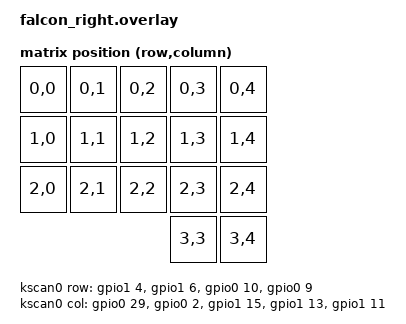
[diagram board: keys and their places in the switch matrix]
/*
 * Falcon - Right Half Overlay
 *
 * Matrix pins identical to left half.
 *
 * Trackball (PMW3610) SPI wiring:
 *   D2 (SDIO) = P0.17  -> SPIM MOSI + MISO (bidirectional)
 *   D3 (SCLK) = P0.20  -> SPIM SCK
 *   D4 (nCS)  = P0.22  -> chip select (active low)
 *   D5 (MoT)  = P0.24  -> motion interrupt (active low, pull-up)
 *   VIN               -> 3.3V
 *   GND               -> GND
 */

#include <dt-bindings/zmk/matrix_transform.h>
#include "falcon.dtsi"

/ {
    chosen {
        zmk,kscan = &kscan0;
        zmk,matrix-transform = &default_transform;
    };

    default_transform: keymap_transform_0 {
        compatible = "zmk,matrix-transform";
        columns = <5>;
        rows = <4>;
        map = <
            RC(0,0) RC(0,1) RC(0,2) RC(0,3) RC(0,4)
            RC(1,0) RC(1,1) RC(1,2) RC(1,3) RC(1,4)
            RC(2,0) RC(2,1) RC(2,2) RC(2,3) RC(2,4)
                                    RC(3,3) RC(3,4)
        >;
    };

    kscan0: kscan {
        compatible = "zmk,kscan-gpio-matrix";
        wakeup-source;
        diode-direction = "row2col";

        row-gpios
            = <&gpio1 4  (GPIO_ACTIVE_HIGH | GPIO_PULL_DOWN)>  /* D8  = P1.04 */
            , <&gpio1 6  (GPIO_ACTIVE_HIGH | GPIO_PULL_DOWN)>  /* D9  = P1.06 */
            , <&gpio0 10 (GPIO_ACTIVE_HIGH | GPIO_PULL_DOWN)>  /* D16 = P0.10 */
            , <&gpio0 9  (GPIO_ACTIVE_HIGH | GPIO_PULL_DOWN)>  /* D10 = P0.09 */
            ;

        col-gpios
            = <&gpio0 29 GPIO_ACTIVE_HIGH>  /* D20 = P0.29 */
            , <&gpio0 2  GPIO_ACTIVE_HIGH>  /* D19 = P0.02 */
            , <&gpio1 15 GPIO_ACTIVE_HIGH>  /* D18 = P1.15 */
            , <&gpio1 13 GPIO_ACTIVE_HIGH>  /* D15 = P1.13 */
            , <&gpio1 11 GPIO_ACTIVE_HIGH>  /* D14 = P1.11 */
            ;
    };
};

/* ── SPI pin control ─────────────────────────────────────────────── */
&pinctrl {
    spi0_default: spi0_default {
        group1 {
            psels = <NRF_PSEL(SPIM_SCK,  0, 20)>,  /* D3 SCLK */
                    <NRF_PSEL(SPIM_MOSI, 0, 17)>,  /* D2 SDIO */
                    <NRF_PSEL(SPIM_MISO, 0, 17)>;  /* D2 SDIO (bidirectional) */
        };
    };

    spi0_sleep: spi0_sleep {
        group1 {
            psels = <NRF_PSEL(SPIM_SCK,  0, 20)>,
                    <NRF_PSEL(SPIM_MOSI, 0, 17)>,
                    <NRF_PSEL(SPIM_MISO, 0, 17)>;
            low-power-enable;
        };
    };
};

/* ── SPI bus + PMW3610 sensor ────────────────────────────────────── */
&spi0 {
    status = "okay";
    compatible = "nordic,nrf-spim";
    pinctrl-0 = <&spi0_default>;
    pinctrl-1 = <&spi0_sleep>;
    pinctrl-names = "default", "sleep";
    cs-gpios = <&gpio0 22 GPIO_ACTIVE_LOW>;  /* D4 nCS = P0.22 */

    trackball: trackball@0 {
        status = "okay";
        compatible = "pixart,pmw3610-alt";
        reg = <0>;
        spi-max-frequency = <2000000>;
        irq-gpios = <&gpio0 24 (GPIO_ACTIVE_LOW | GPIO_PULL_UP)>;  /* D5 MoT = P0.24 */

        cpi = <600>;
        evt-type = <INPUT_EV_REL>;
        x-input-code = <INPUT_REL_X>;
        y-input-code = <INPUT_REL_Y>;

        force-awake;
        force-awake-4ms-mode;
    };
};

/* Assign the real trackball device to the input split */
&trackball_split {
    device = <&trackball>;
};
